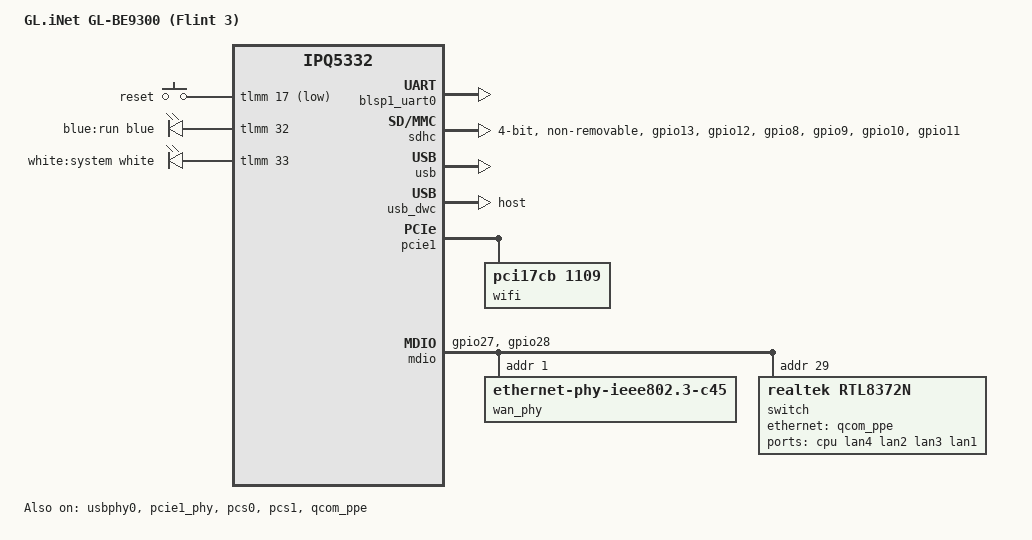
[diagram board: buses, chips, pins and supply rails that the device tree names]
// SPDX-License-Identifier: GPL-2.0-or-later OR MIT
/dts-v1/;

#include "ipq5332.dtsi"

#include <dt-bindings/gpio/gpio.h>
#include <dt-bindings/input/input.h>
#include <dt-bindings/leds/common.h>

/ {
	model = "GL.iNet GL-BE9300 (Flint 3)";
	compatible = "glinet,gl-be9300", "qcom,ipq5332";

	aliases {
		serial0 = &blsp1_uart0;
	};

	chosen {
		stdout-path = "serial0:115200n8";
	};

	/*
	 * Reserved memory regions for QSDK/QCN9224 radio firmware + TrustZone app
	 * memory. Vendor's DT reserves these so kernel doesn't allocate over
	 * them; QSEE and firmware loaders use them at fixed addresses.
	 * Layout matches vendor's `from-ap2/ap2-live.dts`:
	 *   m3_dump@4cc00000  1M  Q6 M3-core crash dump
	 *   q6_etr_dump@4cd00000 1M  Q6 ETR (Embedded Trace Replicator) dump
	 *   q6_caldb@4ce00000 5M  Q6 calibration DB
	 *   wcnss@4a900000   35M  internal-radio WCNSS firmware loading area
	 *   tzapp@49b00000    6M  TrustZone app memory
	 *   qcn9224_pcie0@4ed00000 50M  QCN9224 radio 0 (disabled — slot empty?)
	 *   qcn9224_pcie1@51f00000 50M  QCN9224 radio 1 (active)
	 */
	reserved-memory {
		#address-cells = <2>;
		#size-cells = <2>;
		ranges;

		tzapp@49b00000 {
			reg = <0x0 0x49b00000 0x0 0x600000>;
			no-map;
		};

		q6_region: wcnss@4a900000 {
			reg = <0x0 0x4a900000 0x0 0x2300000>;
			no-map;
		};

		m3_dump@4cc00000 {
			reg = <0x0 0x4cc00000 0x0 0x100000>;
			no-map;
		};

		q6_etr_dump@4cd00000 {
			reg = <0x0 0x4cd00000 0x0 0x100000>;
			no-map;
		};

		q6_caldb: q6_caldb@4ce00000 {
			reg = <0x0 0x4ce00000 0x0 0x500000>;
			no-map;
		};

		mlo_global_mem: mlo_global_mem@4db00000 {
			reg = <0x0 0x4db00000 0x0 0x1200000>;
			no-map;
		};

		qcn9224_pcie0@4ed00000 {
			reg = <0x0 0x4ed00000 0x0 0x3200000>;
			no-map;
			status = "disabled";
		};

		qcn9224_pcie1@51f00000 {
			reg = <0x0 0x51f00000 0x0 0x3200000>;
			no-map;
		};
	};

	keys {
		compatible = "gpio-keys";

		button-reset {
			label = "reset";
			gpios = <&tlmm 17 GPIO_ACTIVE_LOW>;
			linux,code = <KEY_RESTART>;
		};
	};

	leds {
		compatible = "gpio-leds";

		led_run: led-0 {
			color = <LED_COLOR_ID_BLUE>;
			function = LED_FUNCTION_POWER;
			label = "blue:run";
			gpios = <&tlmm 32 GPIO_ACTIVE_HIGH>;
			default-state = "on";
		};

		led-1 {
			color = <LED_COLOR_ID_WHITE>;
			function = LED_FUNCTION_STATUS;
			label = "white:system";
			gpios = <&tlmm 33 GPIO_ACTIVE_HIGH>;
			default-state = "off";
		};
	};
};

&blsp1_uart0 {
	pinctrl-0 = <&serial_0_pins>;
	pinctrl-names = "default";
	status = "okay";
};

&sleep_clk {
	clock-frequency = <32000>;
};

&xo_board {
	clock-frequency = <24000000>;
};

&sdhc {
	bus-width = <4>;
	max-frequency = <192000000>;
	mmc-ddr-1_8v;
	mmc-hs200-1_8v;
	non-removable;
	pinctrl-0 = <&sdc_default_state>;
	pinctrl-names = "default";
	/*
	 * Hard block-reset (GCC SDCC BCR). When U-Boot boots the kernel off
	 * eMMC (bootipq), it leaves the SDHCI controller mid-transfer; Linux's
	 * soft RESET_ALL then times out ("mmc0: Reset 0x1 never completed") and
	 * mmcblk0 never enumerates -> rootwait hangs -> RCU stall at ~61s.
	 * sdhci-msm asserts/deasserts this reset at probe to fully clear the
	 * controller. Missing from the upstream ipq5332 dtsi; ipq8074/ipq6018
	 * wire the same SDCC BCR. Verified: TFTP-boot (no U-Boot mmc touch) was
	 * always clean; only the eMMC-boot path wedged.
	 */
	resets = <&gcc GCC_SDCC_BCR>;
	status = "okay";
};

&usbphy0 {
	status = "okay";
};

&usb {
	status = "okay";
};

&usb_dwc {
	dr_mode = "host";
};

&pcie1_phy {
	status = "okay";
};

&pcie1 {
	perst-gpios = <&tlmm 47 GPIO_ACTIVE_LOW>;
	wake-gpios = <&tlmm 30 GPIO_ACTIVE_LOW>;

	/* QCN6274/QCN9274 5 GHz + 6 GHz radios — working (ath12k, real clients, SAE + DHCP). */
	status = "okay";

	/*
	 * WORKAROUND: ath12k uses MSI (msi-map -> v2m), not legacy INTx.
	 * The inherited INTx interrupt-map (INTA-D -> GIC SPI 412-415) hangs
	 * inside pci_assign_irq() during device bind (HW-verified 2026-06-02).
	 * Drop it so pci_assign_irq sets dev->irq=0 and skips the GIC INTx
	 * alloc; the QCN9274 is serviced entirely via MSI.
	 */
	/delete-property/ interrupt-map;
	/delete-property/ interrupt-map-mask;

	pcie@0 {
		wifi@0,0 {
			/*
			 * QCN9274 (PCI 17cb:1109) wired as a dualmac radio:
			 * MAC0 = 5 GHz, MAC1 = 6 GHz. OTP on this board is
			 * not provisioned (board_id == 0xff), so ath12k can't
			 * auto-detect dualmac from fuse bits — force it here.
			 */
			compatible = "pci17cb,1109";
			reg = <0x00010000 0 0 0 0>;
			qcom,ath12k-prefer-dualmac;
		};
	};
};

&tlmm {
	sdc_default_state: sdc-default-state {
		clk-pins {
			pins = "gpio13";
			function = "sdc_clk";
			drive-strength = <8>;
			bias-disable;
		};

		cmd-pins {
			pins = "gpio12";
			function = "sdc_cmd";
			drive-strength = <8>;
			bias-pull-up;
		};

		data-pins {
			pins = "gpio8", "gpio9", "gpio10", "gpio11";
			function = "sdc_data";
			drive-strength = <8>;
			bias-pull-up;
		};
	};
};

/*
 * Ethernet via mainline qcom-ppe (replaces QSDK qca-nss-* stack).
 *
 * Flint 3 has two GMAC ports active off IPQ5332's PPE:
 *   port@1 — LAN-side, behind the RTL8372N managed switch (no Linux driver
 *           yet for RTL8372N, so we use fixed-link for now and accept
 *           whatever the switch's U-Boot defaults give us).
 *   port@2 — WAN-side 2.5GbE, via on-board RTL8221B-VB-CG PHY (PHY ID
 *           001c.c849) on MDIO addr 1. Driven by mainline drivers/net/phy/
 *           realtek/realtek_main.c with CONFIG_REALTEK_PHY=y.
 */
&mdio {
	/*
	 * GPIO 27 = MDC, GPIO 28 = MDIO (vendor pinmux).
	 * PHY reset GPIOs: 51 (internal RTL8221B) and 24 (RTL8372N).
	 */
	pinctrl-0 = <&mdio_pinmux>;
	pinctrl-names = "default";
	status = "okay";

	wan_phy: ethernet-phy@1 {
		compatible = "ethernet-phy-ieee802.3-c45";
		reg = <1>;
	};

	/*
	 * LAN switch chip — Realtek RTL8372N at MDIO address 0x1d.
	 * Captured from vendor DT (decimal node name `switch@29`,
	 * `reg = <0x1d>` = 29).  Per vendor swconfig:
	 *   port 3 = 10G SerDes (CPU port from IPQ5332 UNIPHY0)
	 *   port 4 = 1G secondary CPU connection
	 *   ports 5..8 = LAN1..LAN4 jacks
	 *   ports 0..2, 9 = unused
	 * CPU port from this board's perspective is port 3.
	 */
	switch: switch@1d {
		compatible = "realtek,rtl8372n";
		reg = <0x1d>;

		ports {
			#address-cells = <1>;
			#size-cells = <0>;

			/* port 3 — CPU port via SerDes to IPQ5332 UNIPHY0.
			 * Vendor U-Boot leaves SDS0 in SERDES_10GR (10GBASE-R)
			 * and our PCS skip-reconfig preserves that. The chip's
			 * port-3 MAC must match — otherwise the chip sends
			 * frames clocked for 2.5G while the SerDes ships them
			 * at 10G and the receive end can't decode. Symptom
			 * observed via MIB counters 2026-05-29: chip's port-3
			 * ifOutUcastPkts advances correctly (forwarding from
			 * port 7 → port 3 works), but SoC eth0 RX never sees
			 * those frames.
			 *
			 * See memory/project_flint3_socswitch_link_is_10g.md.
			 */
			port@3 {
				reg = <3>;
				label = "cpu";
				ethernet = <&qcom_ppe>;
				phy-mode = "10gbase-r";

				fixed-link {
					speed = <10000>;
					full-duplex;
				};
			};

			/* Front-panel jack → switch port mapping (verified
			 * with the actual ap2 unit + vendor swconfig dump):
			 *   LAN1 (laptop)        → switch port 7
			 *   LAN2 (printer/etc)   → switch port 5
			 *   LAN3 (n/c)           → switch port 6 (vendor's guest VLAN)
			 *   LAN4 (trunk)         → switch port 4 (vendor's trunk, tagged for
			 *                                          both VLAN 10 + 192)
			 * Switch port 8 is internal / unused — not exposed.
			 *
			 * LAN ports use the chip's internal 2.5G PHYs.
			 * Mainline rtl8372n.c doesn't expose phy_read/write
			 * yet, so phylink can't find the internal PHYs via
			 * MDIO. Declare fixed-link 2500/full as a workaround
			 * — link state is whatever the chip auto-negotiates,
			 * but DSA slave netdevs come up. Replace with
			 * phy-handle + phy_read once the driver grows
			 * internal-MDIO access.
			 */
			/* LAN4 jack is RTL8372N switch port 8 (NOT port 4 — port 4
			 * is a secondary 1G CPU/trunk port). Confirmed via vendor
			 * swconfig + chip register port-probe + GL.iNet forum.
			 */
			port@8 {
				reg = <8>;
				label = "lan4";
				phy-mode = "internal";
				fixed-link { speed = <2500>; full-duplex; };
			};
			port@5 {
				reg = <5>;
				label = "lan2";
				phy-mode = "internal";
				fixed-link { speed = <2500>; full-duplex; };
			};
			port@6 {
				reg = <6>;
				label = "lan3";
				phy-mode = "internal";
				fixed-link { speed = <2500>; full-duplex; };
			};
			port@7 {
				reg = <7>;
				label = "lan1";
				phy-mode = "internal";
				fixed-link { speed = <2500>; full-duplex; };
			};
		};
	};
};

&pcs0 {
	status = "okay";
};

&pcs1 {
	status = "okay";
};

&qcom_ppe {
	status = "okay";

	ethernet-ports {
		#address-cells = <1>;
		#size-cells = <0>;

		port@1 {
			reg = <1>;
			/* Vendor swconfig shows the SoC↔switch SerDes link
			 * runs at 10G (port 3 on the switch reports
			 * speed:10000baseT). Vendor U-Boot also leaves the
			 * RTL8372N SDS0 mode at SERDES_10GR (0x1A in the
			 * SDS_MODE_SEL register). So the right phy-mode here
			 * is a 10G class — 10gbase-r matches the switch end
			 * line code directly. 2500base-x was wrong.
			 */
			phy-mode = "10gbase-r";
			pcs-handle = <&pcs0_ch0>;
			clocks = <&nsscc NSS_CC_PORT1_MAC_CLK>,
				 <&nsscc NSS_CC_PORT1_RX_CLK>,
				 <&nsscc NSS_CC_PORT1_TX_CLK>;
			clock-names = "port_mac",
				      "port_rx",
				      "port_tx";
			resets = <&nsscc NSS_CC_PORT1_MAC_CLK_ARES>,
				 <&nsscc NSS_CC_PORT1_RX_CLK_ARES>,
				 <&nsscc NSS_CC_PORT1_TX_CLK_ARES>;
			reset-names = "port_mac",
				      "port_rx",
				      "port_tx";

			fixed-link {
				speed = <10000>;
				full-duplex;
			};
		};

		port@2 {
			reg = <2>;
			/* RTL8221B is a USXGMII-capable 2.5G PHY. Vendor
			 * configures this port via XPCS (PCS_MODE_CTRL bit 12 +
			 * MISC2=0x70 = REG_PHY_MODE 7) which matches mainline's
			 * "usxgmii" path in pcs-qcom-ipq9574, NOT the
			 * "2500base-x" path (which sets bit 11 + MISC2=0x40 and
			 * doesn't bring the XPCS block out of reset). Verified
			 * 2026-05-17 by comparing vendor /sys/firmware regdump
			 * with our mainline boot trace.
			 */
			phy-mode = "usxgmii";
			pcs-handle = <&pcs1_ch0>;
			phy-handle = <&wan_phy>;
			clocks = <&nsscc NSS_CC_PORT2_MAC_CLK>,
				 <&nsscc NSS_CC_PORT2_RX_CLK>,
				 <&nsscc NSS_CC_PORT2_TX_CLK>;
			clock-names = "port_mac",
				      "port_rx",
				      "port_tx";
			resets = <&nsscc NSS_CC_PORT2_MAC_CLK_ARES>,
				 <&nsscc NSS_CC_PORT2_RX_CLK_ARES>,
				 <&nsscc NSS_CC_PORT2_TX_CLK_ARES>;
			reset-names = "port_mac",
				      "port_rx",
				      "port_tx";
		};
	};
};

/* MDIO pinmux state — used by &mdio. Defined here because ipq5332.dtsi
 * doesn't include it (vendor uses different pins on different boards). */
&tlmm {
	mdio_pinmux: mdio-pinmux-state {
		mdc-pins {
			pins = "gpio27";
			function = "mdc1";
			drive-strength = <8>;
			bias-pull-up;
		};
		mdio-pins {
			pins = "gpio28";
			function = "mdio1";
			drive-strength = <8>;
			bias-pull-up;
		};
	};
};

/* TODO: partitions on /dev/mmcblk0 (use kernel's GPT auto-detect via PARTUUID) */

&watchdog {
	status = "disabled";
};

/*
 * IPQ5332 on-SoC 2.4 GHz radio: multipd Q6 remoteproc + ath12k AHB wifi.
 * Values decoded from the vendor DT (from-ap2/ap2-dtb.tar.gz) and the qualcommax
 * multipd reference (ipq5018-qcn6122.dtsi, binding qcom,multipd-pil.yaml + 0189).
 * Driver side: patches 0595-0605 (multipd) + ath12k AHB (patch 201). Firmware in
 * from-ap2/firmware/IPQ5332-stock/ (q6_fw0/q6_fw1/iu_fw/m3/regdb).
 *
 * !!! UNTESTED ON HW. Fields marked VERIFY are the likely iteration points:
 *     firmware-name paths (must match staged /lib/firmware location), the
 *     qcom,rproc target PD, and the memory-region phandles. !!!
 */
/ {
	wcss: smp2p-wcss {
		compatible = "qcom,smp2p";
		qcom,smem = <435>, <428>;
		interrupt-parent = <&intc>;
		interrupts = <GIC_SPI 418 IRQ_TYPE_EDGE_RISING>;
		mboxes = <&apcs_glb 9>;
		qcom,local-pid = <0>;
		qcom,remote-pid = <1>;

		wcss_smp2p_out: master-kernel {
			qcom,entry-name = "master-kernel";
			#qcom,smem-state-cells = <1>;
		};

		wcss_smp2p_in: slave-kernel {
			qcom,entry-name = "slave-kernel";
			interrupt-controller;
			#interrupt-cells = <2>;
		};
	};
};

&{/soc@0} {
	q6v5_wcss: remoteproc@d100000 {
		/*
		 * 2.4 GHz on-SoC Q6/WCSS radio — WORK IN PROGRESS, disabled by default.
		 * Driver (multipd + ath12k AHB), DT and firmware staging are done, but
		 * Q6 bring-up is blocked at the TrustZone PAS step:
		 * qcom_scm_pas_auth_and_reset(0xD) returns -22 (res[0]=-32), even with
		 * the correct TIP ath12k firmware (the vendor WIFIFW blob is for the
		 * proprietary cnss driver). GL.iNet/QCA are looking into the TZ side.
		 * To test: set this and wifi@c000000 to "okay", and stage the TIP
		 * ath12k IPQ5332 firmware to /lib/firmware/IPQ5332/ (see README).
		 */
		status = "disabled";
		compatible = "qcom,ipq5332-q6-mpd";
		reg = <0x0d100000 0x4040>;
		reg-names = "qdsp6";
		/* VERIFY: vendor multipd used a single entry "IPQ5332/q6_fw0.mdt".
		 * mpd.c request_firmware()s EVERY entry, and there is no internal-radio
		 * m3 in the stock fw (m3.bin is qcn9224/ only), so keep one entry. If the
		 * Q6 needs an M3 as firmware[1], add it here once identified on HW. */
		firmware-name = "IPQ5332/q6_fw0.mdt";
		interrupts-extended = <&intc GIC_SPI 421 IRQ_TYPE_EDGE_RISING>,
				      <&wcss_smp2p_in 0 IRQ_TYPE_NONE>,
				      <&wcss_smp2p_in 1 IRQ_TYPE_NONE>,
				      <&wcss_smp2p_in 2 IRQ_TYPE_NONE>,
				      <&wcss_smp2p_in 3 IRQ_TYPE_NONE>;
		interrupt-names = "wdog", "fatal", "ready", "handover", "stop-ack";
		qcom,smem-states = <&wcss_smp2p_out 0>, <&wcss_smp2p_out 1>;
		qcom,smem-state-names = "shutdown", "stop";
		memory-region = <&q6_region>; /* VERIFY: vendor lists 5; driver uses index 0 */
		qcom,bootargs_version = <2>;

		glink-edge {
			interrupts = <GIC_SPI 417 IRQ_TYPE_EDGE_RISING>;
			label = "rtr";
			qcom,remote-pid = <1>;
			mboxes = <&apcs_glb 8>;
		};

		q6_wcss_pd1: pd-1 {
			firmware-name = "IPQ5332/q6_fw0.mdt"; /* VERIFY: userpd fw is loaded by ath12k ahb.c */
			interrupts-extended = <&wcss_smp2p_in 8 IRQ_TYPE_NONE>,
					      <&wcss_smp2p_in 9 IRQ_TYPE_NONE>,
					      <&wcss_smp2p_in 12 IRQ_TYPE_NONE>,
					      <&wcss_smp2p_in 11 IRQ_TYPE_NONE>;
			interrupt-names = "fatal", "ready", "spawn-ack", "stop-ack";
			qcom,smem-states = <&wcss_smp2p_out 8>, <&wcss_smp2p_out 9>, <&wcss_smp2p_out 10>;
			qcom,smem-state-names = "shutdown", "stop", "spawn";
		};

		q6_wcss_pd2: pd-2 {
			firmware-name = "IPQ5332/q6_fw0.mdt"; /* VERIFY: userpd fw is loaded by ath12k ahb.c */
			interrupts-extended = <&wcss_smp2p_in 16 IRQ_TYPE_NONE>,
					      <&wcss_smp2p_in 17 IRQ_TYPE_NONE>,
					      <&wcss_smp2p_in 20 IRQ_TYPE_NONE>,
					      <&wcss_smp2p_in 19 IRQ_TYPE_NONE>;
			interrupt-names = "fatal", "ready", "spawn-ack", "stop-ack";
			qcom,smem-states = <&wcss_smp2p_out 16>, <&wcss_smp2p_out 17>, <&wcss_smp2p_out 18>;
			qcom,smem-state-names = "shutdown", "stop", "spawn";
		};

		q6_wcss_pd3: pd-3 {
			firmware-name = "IPQ5332/q6_fw0.mdt"; /* VERIFY: userpd fw is loaded by ath12k ahb.c */
			interrupts-extended = <&wcss_smp2p_in 24 IRQ_TYPE_NONE>,
					      <&wcss_smp2p_in 25 IRQ_TYPE_NONE>,
					      <&wcss_smp2p_in 28 IRQ_TYPE_NONE>,
					      <&wcss_smp2p_in 27 IRQ_TYPE_NONE>;
			interrupt-names = "fatal", "ready", "spawn-ack", "stop-ack";
			qcom,smem-states = <&wcss_smp2p_out 24>, <&wcss_smp2p_out 25>, <&wcss_smp2p_out 26>;
			qcom,smem-state-names = "shutdown", "stop", "spawn";
		};
	};

	wifi: wifi@c000000 {
		/* 2.4 GHz ath12k AHB — WIP, disabled (depends on q6v5_wcss above; PAS -22). */
		status = "disabled";
		compatible = "qcom,ipq5332-wifi";
		reg = <0x0c000000 0x1000000>;
		clocks = <&xo_board>;
		clock-names = "xo";
		interrupts =
			     <GIC_SPI 559 IRQ_TYPE_EDGE_RISING>,
			     <GIC_SPI 560 IRQ_TYPE_EDGE_RISING>,
			     <GIC_SPI 561 IRQ_TYPE_EDGE_RISING>,
			     <GIC_SPI 422 IRQ_TYPE_EDGE_RISING>,
			     <GIC_SPI 423 IRQ_TYPE_EDGE_RISING>,
			     <GIC_SPI 424 IRQ_TYPE_EDGE_RISING>,
			     <GIC_SPI 425 IRQ_TYPE_EDGE_RISING>,
			     <GIC_SPI 426 IRQ_TYPE_EDGE_RISING>,
			     <GIC_SPI 427 IRQ_TYPE_EDGE_RISING>,
			     <GIC_SPI 428 IRQ_TYPE_EDGE_RISING>,
			     <GIC_SPI 429 IRQ_TYPE_EDGE_RISING>,
			     <GIC_SPI 430 IRQ_TYPE_EDGE_RISING>,
			     <GIC_SPI 431 IRQ_TYPE_EDGE_RISING>,
			     <GIC_SPI 432 IRQ_TYPE_EDGE_RISING>,
			     <GIC_SPI 433 IRQ_TYPE_EDGE_RISING>,
			     <GIC_SPI 491 IRQ_TYPE_EDGE_RISING>,
			     <GIC_SPI 495 IRQ_TYPE_EDGE_RISING>,
			     <GIC_SPI 493 IRQ_TYPE_EDGE_RISING>,
			     <GIC_SPI 544 IRQ_TYPE_EDGE_RISING>,
			     <GIC_SPI 457 IRQ_TYPE_EDGE_RISING>,
			     <GIC_SPI 466 IRQ_TYPE_EDGE_RISING>,
			     <GIC_SPI 497 IRQ_TYPE_EDGE_RISING>,
			     <GIC_SPI 454 IRQ_TYPE_EDGE_RISING>,
			     <GIC_SPI 453 IRQ_TYPE_EDGE_RISING>,
			     <GIC_SPI 452 IRQ_TYPE_EDGE_RISING>,
			     <GIC_SPI 451 IRQ_TYPE_EDGE_RISING>,
			     <GIC_SPI 488 IRQ_TYPE_EDGE_RISING>,
			     <GIC_SPI 488 IRQ_TYPE_EDGE_RISING>,
			     <GIC_SPI 484 IRQ_TYPE_EDGE_RISING>,
			     <GIC_SPI 554 IRQ_TYPE_EDGE_RISING>,
			     <GIC_SPI 554 IRQ_TYPE_EDGE_RISING>,
			     <GIC_SPI 549 IRQ_TYPE_EDGE_RISING>,
			     <GIC_SPI 507 IRQ_TYPE_EDGE_RISING>,
			     <GIC_SPI 500 IRQ_TYPE_EDGE_RISING>,
			     <GIC_SPI 499 IRQ_TYPE_EDGE_RISING>,
			     <GIC_SPI 498 IRQ_TYPE_EDGE_RISING>,
			     <GIC_SPI 450 IRQ_TYPE_EDGE_RISING>,
			     <GIC_SPI 449 IRQ_TYPE_EDGE_RISING>,
			     <GIC_SPI 448 IRQ_TYPE_EDGE_RISING>,
			     <GIC_SPI 447 IRQ_TYPE_EDGE_RISING>,
			     <GIC_SPI 543 IRQ_TYPE_EDGE_RISING>,
			     <GIC_SPI 486 IRQ_TYPE_EDGE_RISING>,
			     <GIC_SPI 486 IRQ_TYPE_EDGE_RISING>,
			     <GIC_SPI 482 IRQ_TYPE_EDGE_RISING>,
			     <GIC_SPI 419 IRQ_TYPE_EDGE_RISING>,
			     <GIC_SPI 558 IRQ_TYPE_EDGE_RISING>,
			     <GIC_SPI 558 IRQ_TYPE_EDGE_RISING>,
			     <GIC_SPI 558 IRQ_TYPE_EDGE_RISING>,
			     <GIC_SPI 558 IRQ_TYPE_EDGE_RISING>,
			     <GIC_SPI 558 IRQ_TYPE_EDGE_RISING>,
			     <GIC_SPI 558 IRQ_TYPE_EDGE_RISING>,
			     <GIC_SPI 558 IRQ_TYPE_EDGE_RISING>,
			     <GIC_SPI 558 IRQ_TYPE_EDGE_RISING>,
			     <GIC_SPI 558 IRQ_TYPE_EDGE_RISING>,
			     <GIC_SPI 558 IRQ_TYPE_EDGE_RISING>,
			     <GIC_SPI 558 IRQ_TYPE_EDGE_RISING>;
		interrupt-names =
				  "misc-pulse1",
				  "misc-latch",
				  "sw-exception",
				  "ce0",
				  "ce1",
				  "ce2",
				  "ce3",
				  "ce4",
				  "ce5",
				  "ce6",
				  "ce7",
				  "ce8",
				  "ce9",
				  "ce10",
				  "ce11",
				  "host2wbm-desc-feed",
				  "host2reo-re-injection",
				  "host2reo-command",
				  "host2rxdma-monitor-ring1",
				  "reo2ost-exception",
				  "wbm2host-rx-release",
				  "reo2host-status",
				  "reo2host-destination-ring4",
				  "reo2host-destination-ring3",
				  "reo2host-destination-ring2",
				  "reo2host-destination-ring1",
				  "rxdma2host-monitor-destination-mac3",
				  "rxdma2host-monitor-destination-mac2",
				  "rxdma2host-monitor-destination-mac1",
				  "host2rxdma-host-buf-ring-mac3",
				  "host2rxdma-host-buf-ring-mac2",
				  "host2rxdma-host-buf-ring-mac1",
				  "host2tcl-input-ring4",
				  "host2tcl-input-ring3",
				  "host2tcl-input-ring2",
				  "host2tcl-input-ring1",
				  "wbm2host-tx-completions-ring4",
				  "wbm2host-tx-completions-ring3",
				  "wbm2host-tx-completions-ring2",
				  "wbm2host-tx-completions-ring1",
				  "host2tx-monitor-ring1",
				  "txmon2host-monitor-destination-mac3",
				  "txmon2host-monitor-destination-mac2",
				  "txmon2host-monitor-destination-mac1",
				  "umac_reset",
				  "host2rxdma-monitor-ring3",
				  "host2rxdma-monitor-ring2",
				  "ppdu-end-interrupts-mac3",
				  "ppdu-end-interrupts-mac2",
				  "ppdu-end-interrupts-mac1",
				  "rxdma2host-monitor-status-ring-mac3",
				  "rxdma2host-monitor-status-ring-mac2",
				  "rxdma2host-monitor-status-ring-mac1",
				  "rxdma2host-destination-ring-mac3",
				  "rxdma2host-destination-ring-mac2",
				  "rxdma2host-destination-ring-mac1";
		qcom,rproc = <&q6_wcss_pd1>; /* the AHB user-PD (q6v5_wcss_userpd1) */
		memory-region = <&q6_region>; /* VERIFY: ath12k AHB get_reserved_mem(0) */
		/* status set to "disabled" at the top of this node (wired-only deploy) */
	};
};
